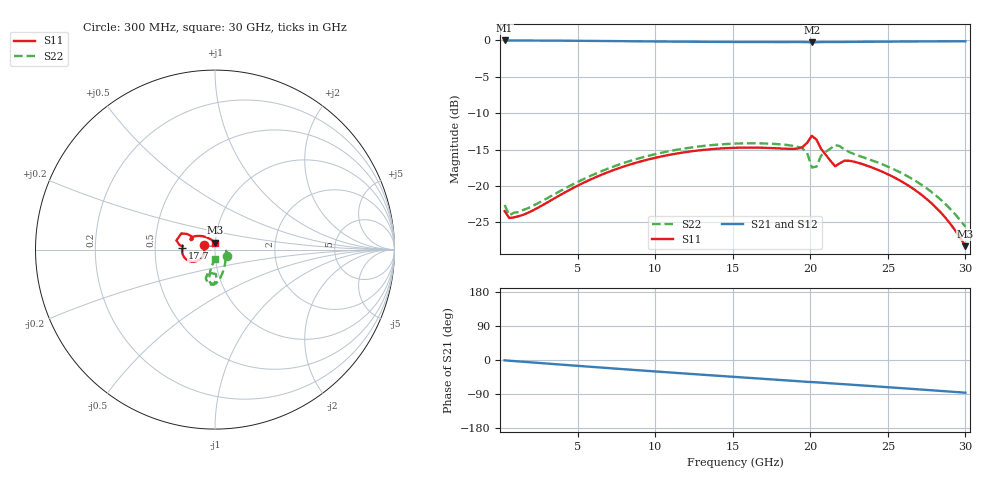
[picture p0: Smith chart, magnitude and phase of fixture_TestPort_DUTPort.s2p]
# Hz S MA R 50.0
!freq magS11 angS11 magS21 angS21 magS12 angS12 magS22 angS22
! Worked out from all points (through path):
!   100 points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, 300 MHz to 30 GHz, reference 50 ohm
!   highest |S21| = -0.03 dB at 300 MHz (marker M1); lowest = -0.3 dB at 20.1 GHz (marker M2)
!   group delay of S21, straight-line fit = 7.88 ps
!   lowest |S11| = -28.3 dB at 30 GHz (marker M3), VSWR 1.08, Z = 49.9 + j3.86 ohm
!   |S11| at or under -10 dB: start of sweep to end of sweep
!   |S22| runs from -25.6 to -14.1 dB; largest |S21 - S12| = 6.5e-16
!   S11 on the Smith chart (normalised r, x): 300 MHz: 0.88, +0.05; 17.7 GHz: 0.69, +0.01; 30 GHz: 1.00, +0.08
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3e8  0.06724 157.5  0.9969 -0.8  0.9969 -0.8  0.07415 -26.8
6e8  0.06034 -169.6  0.9962 -1.9  0.9962 -1.9  0.06302 -5.7
2.1e9  0.0678 -157.7  0.9953 -6.5  0.9953 -6.5  0.07308 -32.6
5.4e9  0.1054 -147.0  0.9906 -16.6  0.9906 -16.6  0.1117 -62.7
7.8e9  0.134 -150.0  0.9858 -23.7  0.9858 -23.7  0.1418 -74.0
1.02e10  0.1578 -156.4  0.9808 -30.7  0.9808 -30.7  0.1672 -81.7
1.26e10  0.1744 -164.4  0.9765 -37.6  0.9765 -37.6  0.1855 -87.5
1.53e10  0.1831 -174.2  0.9732 -45.1  0.9732 -45.1  0.1957 -92.8
1.77e10  0.1817 177.0  0.9722 -51.7  0.9722 -51.7  0.1945 -97.4
1.95e10  0.1851 173.6  0.9722 -56.7  0.9722 -56.7  0.1808 -104.2
1.98e10  0.1977 173.0  0.9703 -57.6  0.9703 -57.6  0.1687 -107.8
2.01e10  0.2211 166.8  0.9676 -58.3  0.9676 -58.3  0.134 -106.9
2.04e10  0.2081 154.3  0.9691 -58.9  0.9691 -58.9  0.136 -87.9
2.07e10  0.1797 150.9  0.9715 -59.8  0.9715 -59.8  0.1615 -86.9
2.16e10  0.1367 154.7  0.9725 -62.4  0.9725 -62.4  0.1912 -92.8
2.22e10  0.1491 157.3  0.9733 -63.9  0.9733 -63.9  0.1782 -100.2
2.25e10  0.1491 155.1  0.9742 -64.7  0.9742 -64.7  0.1713 -100.7
2.52e10  0.1176 139.6  0.9789 -72.4  0.9789 -72.4  0.133 -102.3
2.67e10  0.09476 130.1  0.981 -76.6  0.981 -76.6  0.1098 -102.0
2.79e10  0.07473 120.6  0.9825 -80.1  0.9825 -80.1  0.08954 -100.4
2.91e10  0.05381 106.9  0.9836 -83.6  0.9836 -83.6  0.06829 -96.1
3e10  0.03866 89.7  0.9841 -86.3  0.9841 -86.3  0.05255 -88.9
